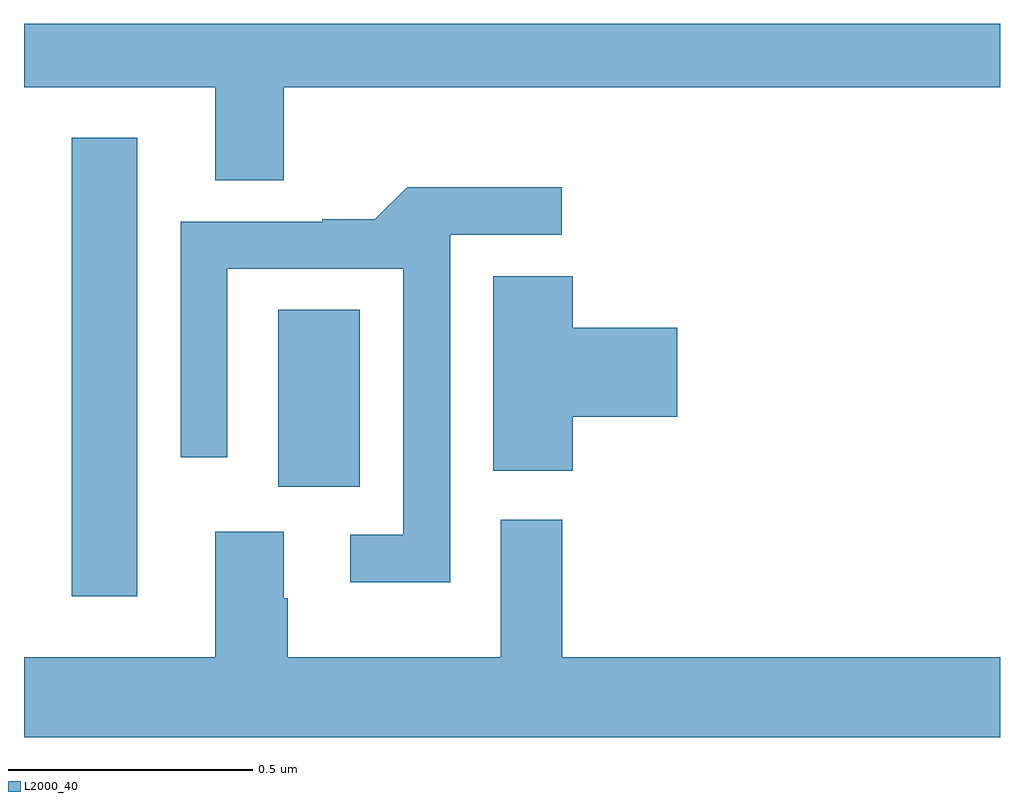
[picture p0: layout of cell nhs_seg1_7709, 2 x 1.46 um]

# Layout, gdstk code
import gdstk
lib = gdstk.Library(unit=1e-6, precision=1e-09)
def R(c, l, rs):  # rectangles x0, y0, x1, y1
    for r in rs: c.add(gdstk.rectangle(r[:2], r[2:], *l))
def P(c, l, *ps):  # polygons
    for p in ps: c.add(gdstk.Polygon(p, *l))
L2000_40 = (2000, 40)

nhs_seg1_7709 = lib.new_cell('nhs_seg1_7709')
R(nhs_seg1_7709, L2000_40, [(207.098,548.025,207.232,548.965), (207.521,548.25,207.688,548.612)])
P(nhs_seg1_7709, L2000_40, [(207.532,549.068),(209,549.068),(209,549.199),(207,549.199),(207,549.068),(207.392,549.068),(207.392,548.878),(207.532,548.878)],
  [(207.873,548.766),(208.102,548.766),(208.102,548.864),(207.785,548.864),(207.719,548.798),(207.611,548.798),(207.611,548.793),(207.321,548.793),(207.321,548.31),(207.417,548.31),(207.417,548.697),(207.777,548.697),(207.777,548.151),(207.669,548.151),(207.669,548.054),(207.873,548.054)],
  [(208.124,548.393),(208.339,548.393),(208.339,548.576),(208.124,548.576),(208.124,548.681),(207.962,548.681),(207.962,548.283),(208.124,548.283)],
  [(209,547.9),(208.103,547.9),(208.103,548.182),(207.977,548.182),(207.977,547.9),(207.54,547.9),(207.54,548.021),(207.532,548.021),(207.532,548.158),(207.392,548.158),(207.392,547.9),(207,547.9),(207,547.736),(209,547.736)])

lib.write_gds('nhs_seg1_7709.gds')
